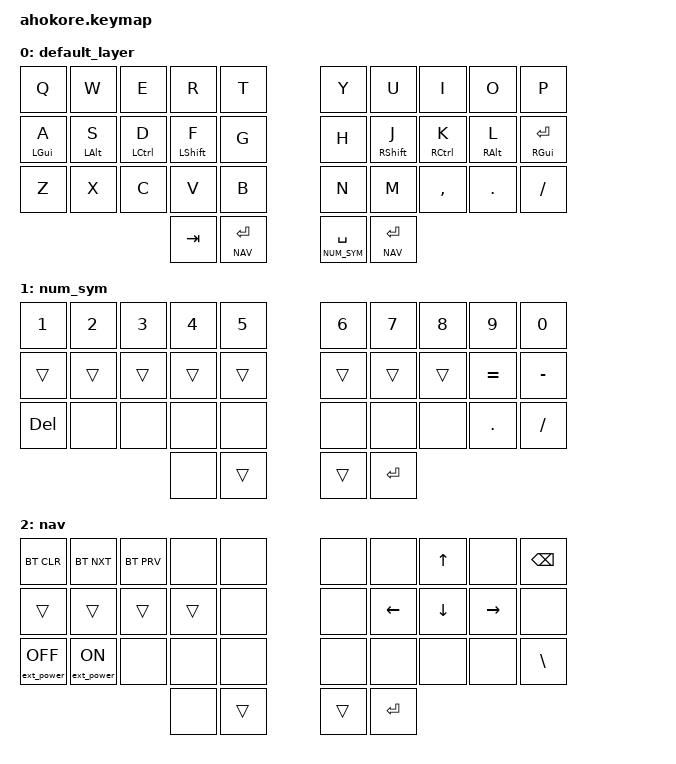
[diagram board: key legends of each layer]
/*
 * Copyright (c) 2020 The ZMK Contributors
 *
 * SPDX-License-Identifier: MIT
 */

#include <behaviors.dtsi>
#include <dt-bindings/zmk/keys.h>
#include <dt-bindings/zmk/bt.h>
#include <dt-bindings/zmk/ext_power.h>

#define DEFAULT 0
#define NUM_SYM 1
#define NAV     2

/ {
    behaviors {
        hm: homerow_mods {
            compatible = "zmk,behavior-hold-tap";
            label = "homerow mods";
            #binding-cells = <2>;
            tapping_term_ms = <225>;
            flavor = "tap-preferred";
            bindings = <&kp>, <&kp>;
        };
    };
};

/ {
    keymap {
        compatible = "zmk,keymap";

        default_layer {
            bindings = <
    &kp Q      &kp W      &kp E       &kp R       &kp T  &kp Y  &kp U       &kp I       &kp O      &kp P
    &hm LGUI A &hm LALT S &hm LCTRL D &hm LSHFT F &kp G  &kp H  &hm RSHFT J &hm RCTRL K &hm RALT L &hm RGUI RET
    &kp Z                 &kp X       &kp C       &kp V  &kp B  &kp N       &kp M       &kp COMMA  &kp DOT  &kp FSLH
                                        &kp TAB  &lt NAV RET    &lt NUM_SYM SPACE   &lt NAV RET
            >;
        };
        num_sym {
            bindings = <
    &kp N1     &kp N2     &kp N3     &kp N4     &kp N5 &kp N6 &kp N7     &kp N8      &kp N9    &kp N0
    &trans     &trans     &trans     &trans     &trans &trans &trans     &trans      &kp EQUAL &kp MINUS
    &kp DEL               &none      &none      &none  &none  &none      &none       &none     &kp DOT  &kp FSLH
                        &none         &trans        &trans             &kp RET
            >;
        };

    nav {
            bindings = <
    &bt BT_CLR &bt BT_NXT &bt BT_PRV &none       &none &none &none       &kp UP       &none     &kp BSPC
    &trans     &trans     &trans     &trans      &none &none &kp LEFT    &kp DOWN     &kp RIGHT &none
    &ext_power EP_OFF &ext_power EP_ON      &none       &none &none &none       &none        &none     &none &kp BSLH
                                    &none         &trans        &trans             &kp RET
            >;
        };
    };
};
